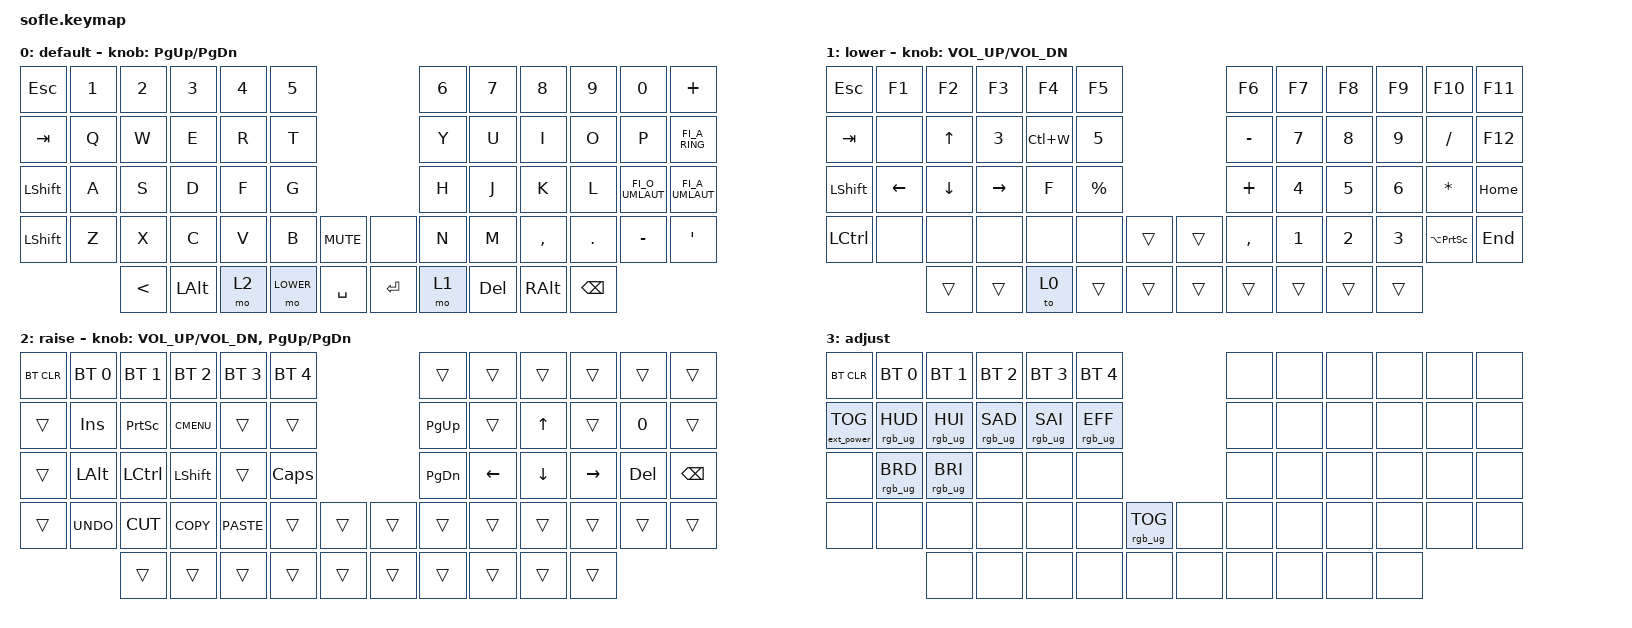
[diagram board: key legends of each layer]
/*
 * Copyright (c) 2020 The ZMK Contributors
 *
 * SPDX-License-Identifier: MIT
 */

#include <behaviors.dtsi>
#include "keys_fi.h"
#include <dt-bindings/zmk/bt.h>
#include <dt-bindings/zmk/ext_power.h>
#include <dt-bindings/zmk/keys.h>
#include <dt-bindings/zmk/rgb.h>

#define BASE 0
#define LOWER 1
#define RAISE 2
#define ADJUST 3

/ {
    // Activate ADJUST layer by pressing raise and lower

    conditional_layers {
        compatible = "zmk,conditional-layers";

        adjust_layer {
            if-layers = <LOWER RAISE>;
            then-layer = <ADJUST>;
        };
    };

    keymap {
        compatible = "zmk,keymap";

        default_layer {
            label = "default";

            // ------------------------------------------------------------------------------------------------------------
            // |   `   |  1  |  2  |  3   |  4   |  5   |                   |  6   |  7    |  8    |  9   |   0   |       |
            // |  ESC  |  Q  |  W  |  E   |  R   |  T   |                   |  Y   |  U    |  I    |  O   |   P   | BKSPC |
            // |  TAB  |  A  |  S  |  D   |  F   |  G   |                   |  H   |  J    |  K    |  L   |   ;   |   '   |
            // | SHIFT |  Z  |  X  |  C   |  V   |  B   |  MUTE  |  |       |  N   |  M    |  ,    |  .   |   /   | SHIFT |
            //               | GUI | ALT  | CTRL | LOWER|  ENTER |  | SPACE | RAISE| CTRL  | ALT   | GUI  |

            bindings = <
&kp ESCAPE  &kp N1  &kp N2  &kp N3        &kp N4  &kp N5                              &kp N6  &kp N7   &kp N8         &kp N9         &kp N0           &kp PLUS
&kp TAB     &kp Q   &kp W   &kp E         &kp R   &kp T                               &kp Y   &kp U    &kp I          &kp O          &kp P            &kp FI_A_RING
&kp LSHFT   &kp A   &kp S   &kp D         &kp F   &kp G                               &kp H   &kp J    &kp K          &kp L          &kp FI_O_UMLAUT  &kp FI_A_UMLAUT
&kp LSHFT   &kp Z   &kp X   &kp C         &kp V   &kp B      &kp C_MUTE    &none      &kp N   &kp M    &kp COMMA      &kp DOT        &kp MINUS        &kp APOS
                    &kp LT  &kp LEFT_ALT  &mo 2   &mo LOWER  &kp SPACE     &kp ENTER  &mo 1   &kp DEL  &kp RIGHT_ALT  &kp BACKSPACE
            >;

            sensor-bindings = <&inc_dec_kp PG_UP PG_DN>;
        };

        lower_layer {
            label = "lower";

            // TODO: Some binds are waiting for shifted keycode support.
            // ------------------------------------------------------------------------------------------------------------
            // |       |  F1 |  F2 |  F3  |  F4  |  F5  |                   |  F6  |  F7   |  F8   |  F9  |  F10  |  F11  |
            // |   `   |  1  |  2  |  3   |  4   |  5   |                   |  6   |  7    |  8    |  9   |   0   |  F12  |
            // |       |  !  |  @  |  #   |  $   |  %   |                   |  ^   |  &    |  *    |  (   |   )   |   |   |
            // |       |  =  |  -  |  +   |  {   |  }   |        |  |       |  [   |  ]    |  ;    |  :   |   \   |       |
            //               |     |      |      |      |        |  |       |      |       |       |      |

            bindings = <
&kp ESCAPE  &kp F1    &kp F2        &kp F3     &kp F4     &kp F5                       &kp F6     &kp F7        &kp F8        &kp F9        &kp F10              &kp F11
&kp TAB     &none     &kp UP_ARROW  &kp N3     &kp LC(W)  &kp N5                       &kp MINUS  &kp N7        &kp N8        &kp N9        &kp SLASH            &kp F12
&kp LSHFT   &kp LEFT  &kp DOWN      &kp RIGHT  &kp F      &kp PRCNT                    &kp PLUS   &kp NUMBER_4  &kp N5        &kp NUMBER_6  &kp ASTERISK         &kp HOME
&kp LCTRL   &none     &none         &none      &none      &none      &trans    &trans  &kp COMMA  &kp NUMBER_1  &kp NUMBER_2  &kp NUMBER_3  &kp LA(PRINTSCREEN)  &kp END
                      &trans        &trans     &to 0      &trans     &trans    &trans  &trans     &trans        &trans        &trans
            >;

            sensor-bindings = <&inc_dec_kp C_VOL_UP C_VOL_DN>;
        };

        raise_layer {
            label = "raise";

            // ------------------------------------------------------------------------------------------------------------
            // | BTCLR | BT1  | BT2  |  BT3  |  BT4  |  BT5 |                |      |      |       |      |       |       |
            // |       | INS  | PSCR | GUI   |       |      |                | PGUP |      |   ^   |      |       |       |
            // |       | ALT  | CTRL | SHIFT |       | CAPS |                | PGDN |   <- |   v   |  ->  |  DEL  | BKSPC |
            // |       | UNDO | CUT  | COPY  | PASTE |      |      |  |      |      |      |       |      |       |       |
            //                |      |       |       |      |      |  |      |      |      |       |      |

            bindings = <
&bt BT_CLR  &bt BT_SEL 0  &bt BT_SEL 1  &bt BT_SEL 2  &bt BT_SEL 3  &bt BT_SEL 4                    &trans     &trans    &trans    &trans     &trans   &trans
&trans      &kp INS       &kp PSCRN     &kp K_CMENU   &trans        &trans                          &kp PG_UP  &trans    &kp UP    &trans     &kp N0   &trans
&trans      &kp LALT      &kp LCTRL     &kp LSHFT     &trans        &kp CLCK                        &kp PG_DN  &kp LEFT  &kp DOWN  &kp RIGHT  &kp DEL  &kp BSPC
&trans      &kp K_UNDO    &kp K_CUT     &kp K_COPY    &kp K_PASTE   &trans        &trans    &trans  &trans     &trans    &trans    &trans     &trans   &trans
                          &trans        &trans        &trans        &trans        &trans    &trans  &trans     &trans    &trans    &trans
            >;

            sensor-bindings = <&inc_dec_kp C_VOL_UP C_VOL_DN &inc_dec_kp PG_UP PG_DN>;
        };

        adjust_layer {
            // ----------------------------------------------------------------------------------------------------------------------------
            // | BTCLR  |  BT1    |  BT2    |   BT3   |   BT4   |   BT5   |                  |      |      |       |      |       |       |
            // | EXTPWR | RGB_HUD | RGB_HUI | RGB_SAD | RGB_SAI | RGB_EFF |                  |      |      |       |      |       |       |
            // |        | RGB_BRD | RGB_BRI |         |         |         |                  |      |      |       |      |       |       |
            // |        |         |         |         |         |         | RGB_TOG | |      |      |      |       |      |       |       |
            //                    |         |         |         |         |         | |      |      |      |       |      |

            label = "adjust";
            bindings = <
&bt BT_CLR         &bt BT_SEL 0     &bt BT_SEL 1     &bt BT_SEL 2     &bt BT_SEL 3     &bt BT_SEL 4                               &none  &none  &none  &none  &none  &none
&ext_power EP_TOG  &rgb_ug RGB_HUD  &rgb_ug RGB_HUI  &rgb_ug RGB_SAD  &rgb_ug RGB_SAI  &rgb_ug RGB_EFF                            &none  &none  &none  &none  &none  &none
&none              &rgb_ug RGB_BRD  &rgb_ug RGB_BRI  &none            &none            &none                                      &none  &none  &none  &none  &none  &none
&none              &none            &none            &none            &none            &none            &rgb_ug RGB_TOG    &none  &none  &none  &none  &none  &none  &none
                                    &none            &none            &none            &none            &none              &none  &none  &none  &none  &none
            >;
        };
    };
};
